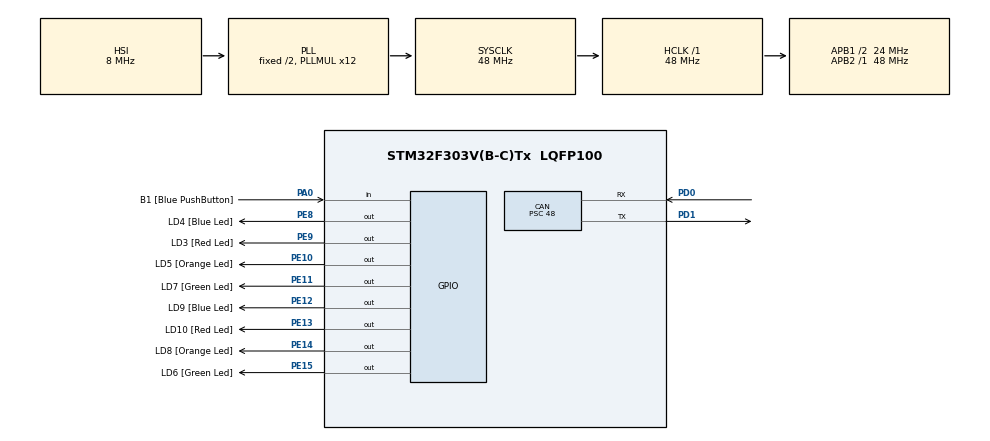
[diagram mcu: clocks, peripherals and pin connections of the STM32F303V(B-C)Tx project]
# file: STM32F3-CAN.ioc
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CAN.CalculateTimeBit=6000
CAN.CalculateTimeQuantum=2000.0
CAN.Prescaler=48
Mcu.Family=STM32F3
Mcu.Name=STM32F303V(B-C)Tx
Mcu.Package=LQFP100
NVIC.PriorityGroup=NVIC_PRIORITYGROUP_0
PA0.GPIO_Label=B1 [Blue PushButton]
PA0.GPIO_Mode=GPIO_MODE_INPUT
PA0.GPIO_PuPd=GPIO_NOPULL
PA0.Signal=GPIO_Input
PA11.GPIO_Label=DM
PA11.Signal=USB_DM
PA12.GPIO_Label=DP
PA12.Signal=USB_DP
PA13.GPIO_Label=SWDIO
PA13.Signal=SYS_JTMS-SWDIO
PA14.GPIO_Label=SWCLK
PA14.Signal=SYS_JTCK-SWCLK
PB3.GPIO_Label=SWO
PB3.Signal=SYS_JTDO-TRACESWO
PB6.GPIO_FM6=__NULL
PB6.GPIO_Label=I2C1_SCL [LSM303DLHC_SCL]
PB6.GPIO_Mode=GPIO_MODE_AF_OD
PB6.GPIO_PuPd=GPIO_NOPULL
PB6.GPIO_Speed=GPIO_SPEED_FREQ_LOW
PB6.Signal=I2C1_SCL
PB7.GPIO_FM7=__NULL
PB7.GPIO_Label=I2C1_SDA [LSM303DLHC_SDA]
PB7.GPIO_Mode=GPIO_MODE_AF_OD
PB7.GPIO_PuPd=GPIO_NOPULL
PB7.GPIO_Speed=GPIO_SPEED_FREQ_LOW
PB7.Signal=I2C1_SDA
PC14-OSC32_IN.GPIO_Label=OSC32_IN
PC14-OSC32_IN.Signal=RCC_OSC32_IN
PC15-OSC32_OUT.GPIO_Label=OSC32_OUT
PC15-OSC32_OUT.Signal=RCC_OSC32_OUT
PD0.Mode=Master
PD0.Signal=CAN_RX
PD1.Mode=Master
PD1.Signal=CAN_TX
PE10.GPIO_Label=LD5 [Orange Led]
PE10.GPIO_ModeDefaultOutputPP=GPIO_MODE_OUTPUT_PP
PE10.GPIO_PuPd=GPIO_NOPULL
PE10.GPIO_Speed=GPIO_SPEED_FREQ_LOW
PE10.Signal=GPIO_Output
PE11.GPIO_Label=LD7 [Green Led]
PE11.GPIO_ModeDefaultOutputPP=GPIO_MODE_OUTPUT_PP
PE11.GPIO_PuPd=GPIO_NOPULL
PE11.GPIO_Speed=GPIO_SPEED_FREQ_LOW
PE11.Signal=GPIO_Output
PE12.GPIO_Label=LD9 [Blue Led]
PE12.GPIO_ModeDefaultOutputPP=GPIO_MODE_OUTPUT_PP
PE12.GPIO_PuPd=GPIO_NOPULL
PE12.GPIO_Speed=GPIO_SPEED_FREQ_LOW
PE12.Signal=GPIO_Output
PE13.GPIO_Label=LD10 [Red Led]
PE13.GPIO_ModeDefaultOutputPP=GPIO_MODE_OUTPUT_PP
PE13.GPIO_PuPd=GPIO_NOPULL
PE13.GPIO_Speed=GPIO_SPEED_FREQ_LOW
PE13.Signal=GPIO_Output
PE14.GPIO_Label=LD8 [Orange Led]
PE14.GPIO_ModeDefaultOutputPP=GPIO_MODE_OUTPUT_PP
PE14.GPIO_PuPd=GPIO_NOPULL
PE14.GPIO_Speed=GPIO_SPEED_FREQ_LOW
PE14.Signal=GPIO_Output
PE15.GPIO_Label=LD6 [Green Led]
PE15.GPIO_ModeDefaultOutputPP=GPIO_MODE_OUTPUT_PP
PE15.GPIO_PuPd=GPIO_NOPULL
PE15.GPIO_Speed=GPIO_SPEED_FREQ_LOW
PE15.Signal=GPIO_Output
PE8.GPIO_Label=LD4 [Blue Led]
PE8.GPIO_ModeDefaultOutputPP=GPIO_MODE_OUTPUT_PP
PE8.GPIO_PuPd=GPIO_NOPULL
PE8.GPIO_Speed=GPIO_SPEED_FREQ_LOW
PE8.Signal=GPIO_Output
PE9.GPIO_Label=LD3 [Red Led]
PE9.GPIO_ModeDefaultOutputPP=GPIO_MODE_OUTPUT_PP
PE9.GPIO_PuPd=GPIO_NOPULL
PE9.GPIO_Speed=GPIO_SPEED_FREQ_LOW
PE9.Signal=GPIO_Output
PF0-OSC_IN.GPIO_Label=OSC_IN
PF0-OSC_IN.Signal=RCC_OSC_IN
PF1-OSC_OUT.GPIO_Label=OSC_OUT
PF1-OSC_OUT.Signal=RCC_OSC_OUT
ProjectManager.HeapSize=0x200
ProjectManager.StackSize=0x400
ProjectManager.TargetToolchain=SW4STM32
RCC.AHBFreq_Value=48000000
RCC.APB1CLKDivider=RCC_HCLK_DIV2
RCC.APB1Freq_Value=24000000
RCC.APB1TimFreq_Value=48000000
RCC.APB2Freq_Value=48000000
RCC.APB2TimFreq_Value=48000000
RCC.CortexFreq_Value=48000000
RCC.HCLKFreq_Value=48000000
RCC.HSE_VALUE=8000000
RCC.HSI_VALUE=8000000
RCC.LSE_VALUE=32768
RCC.PLLMUL=RCC_PLL_MUL12
RCC.SYSCLKFreq_VALUE=48000000
RCC.SYSCLKSourceVirtual=RCC_SYSCLKSOURCE_PLLCLK
RCC.USBFreq_Value=48000000
board=STM32F3DISCOVERY

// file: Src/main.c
/**
  ******************************************************************************
  * File Name          : main.c
  * Description        : Main program body
  ******************************************************************************
  *
  * COPYRIGHT(c) 2016 STMicroelectronics
  *
  * Redistribution and use in source and binary forms, with or without modification,
  * are permitted provided that the following conditions are met:
  *   1. Redistributions of source code must retain the above copyright notice,
  *      this list of conditions and the following disclaimer.
  *   2. Redistributions in binary form must reproduce the above copyright notice,
  *      this list of conditions and the following disclaimer in the documentation
  *      and/or other materials provided with the distribution.
  *   3. Neither the name of STMicroelectronics nor the names of its contributors
  *      may be used to endorse or promote products derived from this software
  *      without specific prior written permission.
  *
  * THIS SOFTWARE IS PROVIDED BY THE COPYRIGHT HOLDERS AND CONTRIBUTORS "AS IS"
  * AND ANY EXPRESS OR IMPLIED WARRANTIES, INCLUDING, BUT NOT LIMITED TO, THE
  * IMPLIED WARRANTIES OF MERCHANTABILITY AND FITNESS FOR A PARTICULAR PURPOSE ARE
  * DISCLAIMED. IN NO EVENT SHALL THE COPYRIGHT HOLDER OR CONTRIBUTORS BE LIABLE
  * FOR ANY DIRECT, INDIRECT, INCIDENTAL, SPECIAL, EXEMPLARY, OR CONSEQUENTIAL
  * DAMAGES (INCLUDING, BUT NOT LIMITED TO, PROCUREMENT OF SUBSTITUTE GOODS OR
  * SERVICES; LOSS OF USE, DATA, OR PROFITS; OR BUSINESS INTERRUPTION) HOWEVER
  * CAUSED AND ON ANY THEORY OF LIABILITY, WHETHER IN CONTRACT, STRICT LIABILITY,
  * OR TORT (INCLUDING NEGLIGENCE OR OTHERWISE) ARISING IN ANY WAY OUT OF THE USE
  * OF THIS SOFTWARE, EVEN IF ADVISED OF THE POSSIBILITY OF SUCH DAMAGE.
  *
  ******************************************************************************
  */
#include "stm32f3xx_hal.h"

/* USER CODE BEGIN Includes */

#include "stm32f3xx_hal_can.h"

/* USER CODE END Includes */

CAN_HandleTypeDef hcan;

/* USER CODE BEGIN PV */
/* Private variables ---------------------------------------------------------*/

/* USER CODE END PV */

void SystemClock_Config(void);
void Error_Handler(void);
static void MX_GPIO_Init(void);
static void MX_CAN_Init(void);

/* USER CODE BEGIN PFP */
/* Private function prototypes -----------------------------------------------*/

/* USER CODE END PFP */

int main(void)
{

  /* MCU Configuration----------------------------------------------------------*/

  /* Reset of all peripherals, Initializes the Flash interface and the Systick. */
  HAL_Init();

  /* Configure the system clock */
  SystemClock_Config();

  /* Initialize all configured peripherals */
  MX_GPIO_Init();
  MX_CAN_Init();

  /* USER CODE BEGIN 2 */

  /*CAN_FilterConfTypeDef CAN_Filters;

       CAN_Filters.BankNumber = 0;
       CAN_Filters.FilterActivation = ENABLE;
       CAN_Filters.FilterFIFOAssignment = CAN_FILTER_FIFO0 ;
       CAN_Filters.FilterIdHigh = 0x00;
       CAN_Filters.FilterIdLow = 0x00;
       CAN_Filters.FilterMaskIdHigh = 0x00;
       CAN_Filters.FilterMaskIdLow = 0x00;
       CAN_Filters.FilterMode = CAN_FILTERMODE_IDMASK;
       CAN_Filters.FilterNumber = 0;
       CAN_Filters.FilterScale = CAN_FILTERSCALE_32BIT;

       HAL_CAN_ConfigFilter(&hcan1, &CAN_Filters);*/

  /* USER CODE END 2 */

  /* Infinite loop */
  while (1)
  {

  /* USER CODE BEGIN 3 */
    //uint32_t StdId;    /*!< Specifies the standard identifier.
	//					  This parameter must be a number between Min_Data = 0 and Max_Data = 0x7FF. */

    //uint32_t ExtId;    /*!< Specifies the extended identifier.
	//					  This parameter must be a number between Min_Data = 0 and Max_Data = 0x1FFFFFFF. */

    //uint32_t IDE;      /*!< Specifies the type of identifier for the message that will be transmitted.
	//					  This parameter can be a value of @ref CAN_identifier_type */

    //uint32_t RTR;      /*!< Specifies the type of frame for the message that will be transmitted.
	//					  This parameter can be a value of @ref CAN_remote_transmission_request */

    //uint32_t DLC;      /*!< Specifies the length of the frame that will be transmitted.
	//					  This parameter must be a number between Min_Data = 0 and Max_Data = 8. */

    //uint8_t Data[8];   /*!< Contains the data to be transmitted.
	//					  This parameter must be a number between Min_Data = 0 and Max_Data = 0xFF. */

	//Read Current Regulator P-Gain (Index 0x60F6 Sub - Index 0x01) from node 1

	HAL_StatusTypeDef status;

	CanTxMsgTypeDef TxMess;
	TxMess.StdId = 0x600 + 1; // 0x600 + Node ID
	TxMess.DLC = 0x0;
	TxMess.IDE = CAN_ID_STD;
	TxMess.RTR = 0;
	TxMess.Data[0] = 0x40; // Read Data 010xxxxxb
	TxMess.Data[1] = 0xF6; // Index Low Byte
	TxMess.Data[2] = 0x60; // Index High Byte
	TxMess.Data[3] = 0x01; // Subindex
	TxMess.Data[4] = 0;
	TxMess.Data[5] = 0;
	TxMess.Data[6] = 0;
	TxMess.Data[7] = 0;
	hcan.pTxMsg = &TxMess;
	status = HAL_CAN_Transmit(&hcan, 1000);

	CanRxMsgTypeDef RxMess;
	RxMess.FIFONumber = CAN_FIFO1;
	RxMess.FMI = 14;
	RxMess.StdId =  0x580 + 1; // 0x580 + Node ID
	RxMess.DLC = 0;
	RxMess.RTR = 0;
	RxMess.IDE = CAN_ID_STD;
	hcan.pRxMsg = &RxMess;
	status = HAL_CAN_Receive(&hcan, CAN_FIFO1, 100);

	HAL_Delay(1000);
  }
  /* USER CODE END 3 */

}

/** System Clock Configuration
*/
void SystemClock_Config(void)
{

  RCC_OscInitTypeDef RCC_OscInitStruct;
  RCC_ClkInitTypeDef RCC_ClkInitStruct;

  RCC_OscInitStruct.OscillatorType = RCC_OSCILLATORTYPE_HSI;
  RCC_OscInitStruct.HSIState = RCC_HSI_ON;
  RCC_OscInitStruct.HSICalibrationValue = 16;
  RCC_OscInitStruct.PLL.PLLState = RCC_PLL_ON;
  RCC_OscInitStruct.PLL.PLLSource = RCC_PLLSOURCE_HSI;
  RCC_OscInitStruct.PLL.PLLMUL = RCC_PLL_MUL12;
  if (HAL_RCC_OscConfig(&RCC_OscInitStruct) != HAL_OK)
  {
    Error_Handler();
  }

  RCC_ClkInitStruct.ClockType = RCC_CLOCKTYPE_HCLK|RCC_CLOCKTYPE_SYSCLK
                              |RCC_CLOCKTYPE_PCLK1|RCC_CLOCKTYPE_PCLK2;
  RCC_ClkInitStruct.SYSCLKSource = RCC_SYSCLKSOURCE_PLLCLK;
  RCC_ClkInitStruct.AHBCLKDivider = RCC_SYSCLK_DIV1;
  RCC_ClkInitStruct.APB1CLKDivider = RCC_HCLK_DIV2;
  RCC_ClkInitStruct.APB2CLKDivider = RCC_HCLK_DIV1;
  if (HAL_RCC_ClockConfig(&RCC_ClkInitStruct, FLASH_LATENCY_1) != HAL_OK)
  {
    Error_Handler();
  }

  HAL_SYSTICK_Config(HAL_RCC_GetHCLKFreq()/1000);

  HAL_SYSTICK_CLKSourceConfig(SYSTICK_CLKSOURCE_HCLK);

  /* SysTick_IRQn interrupt configuration */
  HAL_NVIC_SetPriority(SysTick_IRQn, 0, 0);
}

/* CAN init function */
static void MX_CAN_Init(void)
{

  hcan.Instance = CAN;
  hcan.Init.Prescaler = 48;
  hcan.Init.Mode = CAN_MODE_NORMAL;
  hcan.Init.SJW = CAN_SJW_1TQ;
  hcan.Init.BS1 = CAN_BS1_1TQ;
  hcan.Init.BS2 = CAN_BS2_1TQ;
  hcan.Init.TTCM = DISABLE;
  hcan.Init.ABOM = DISABLE;
  hcan.Init.AWUM = DISABLE;
  hcan.Init.NART = DISABLE;
  hcan.Init.RFLM = DISABLE;
  hcan.Init.TXFP = DISABLE;
  if (HAL_CAN_Init(&hcan) != HAL_OK)
  {
    Error_Handler();
  }

}

/** Configure pins as
        * Analog
        * Input
        * Output
        * EVENT_OUT
        * EXTI
     PA11   ------> USB_DM
     PA12   ------> USB_DP
     PB6   ------> I2C1_SCL
     PB7   ------> I2C1_SDA
*/
static void MX_GPIO_Init(void)
{

  GPIO_InitTypeDef GPIO_InitStruct;

  /* GPIO Ports Clock Enable */
  __HAL_RCC_GPIOC_CLK_ENABLE();
  __HAL_RCC_GPIOF_CLK_ENABLE();
  __HAL_RCC_GPIOA_CLK_ENABLE();
  __HAL_RCC_GPIOE_CLK_ENABLE();
  __HAL_RCC_GPIOD_CLK_ENABLE();
  __HAL_RCC_GPIOB_CLK_ENABLE();

  /*Configure GPIO pin : B1_Pin */
  GPIO_InitStruct.Pin = B1_Pin;
  GPIO_InitStruct.Mode = GPIO_MODE_INPUT;
  GPIO_InitStruct.Pull = GPIO_NOPULL;
  HAL_GPIO_Init(B1_GPIO_Port, &GPIO_InitStruct);

  /*Configure GPIO pins : LD4_Pin LD3_Pin LD5_Pin LD7_Pin
                           LD9_Pin LD10_Pin LD8_Pin LD6_Pin */
  GPIO_InitStruct.Pin = LD4_Pin|LD3_Pin|LD5_Pin|LD7_Pin
                          |LD9_Pin|LD10_Pin|LD8_Pin|LD6_Pin;
  GPIO_InitStruct.Mode = GPIO_MODE_OUTPUT_PP;
  GPIO_InitStruct.Pull = GPIO_NOPULL;
  GPIO_InitStruct.Speed = GPIO_SPEED_FREQ_LOW;
  HAL_GPIO_Init(GPIOE, &GPIO_InitStruct);

  /*Configure GPIO pins : DM_Pin DP_Pin */
  GPIO_InitStruct.Pin = DM_Pin|DP_Pin;
  GPIO_InitStruct.Mode = GPIO_MODE_AF_PP;
  GPIO_InitStruct.Pull = GPIO_NOPULL;
  GPIO_InitStruct.Speed = GPIO_SPEED_FREQ_HIGH;
  GPIO_InitStruct.Alternate = GPIO_AF14_USB;
  HAL_GPIO_Init(GPIOA, &GPIO_InitStruct);

  /*Configure GPIO pins : PB6 PB7 */
  GPIO_InitStruct.Pin = GPIO_PIN_6|GPIO_PIN_7;
  GPIO_InitStruct.Mode = GPIO_MODE_AF_OD;
  GPIO_InitStruct.Pull = GPIO_PULLUP;
  GPIO_InitStruct.Speed = GPIO_SPEED_FREQ_LOW;
  GPIO_InitStruct.Alternate = GPIO_AF4_I2C1;
  HAL_GPIO_Init(GPIOB, &GPIO_InitStruct);

  /*Configure GPIO pin Output Level */
  HAL_GPIO_WritePin(GPIOE, LD4_Pin|LD3_Pin|LD5_Pin|LD7_Pin
                          |LD9_Pin|LD10_Pin|LD8_Pin|LD6_Pin, GPIO_PIN_RESET);

}

void Error_Handler(void)
{
  while(1)
  {
  }
}

/************************ (C) COPYRIGHT STMicroelectronics *****END OF FILE****/
